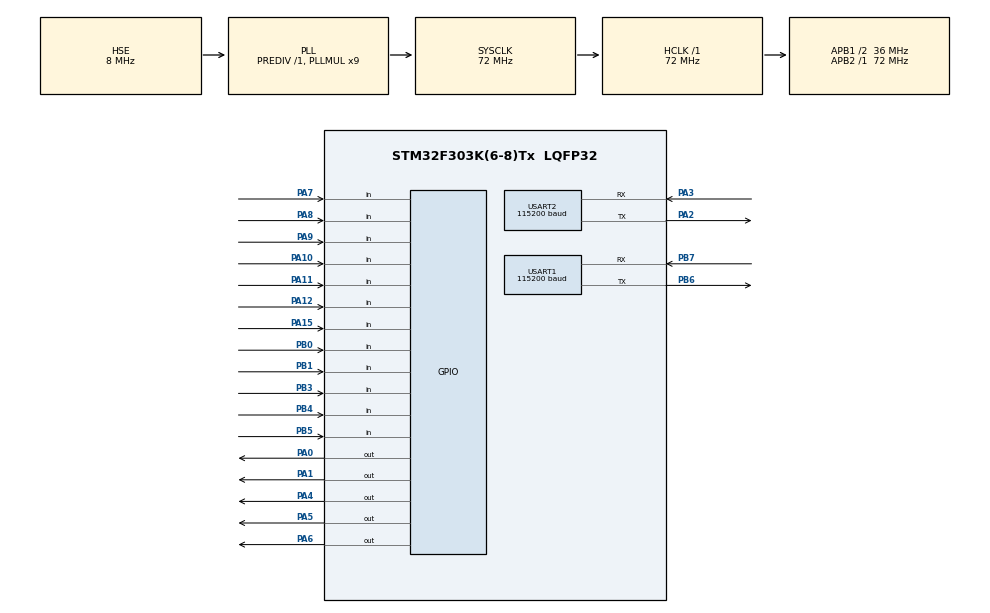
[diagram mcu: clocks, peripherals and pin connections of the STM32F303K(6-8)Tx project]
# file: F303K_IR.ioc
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IWDG.Prescaler=IWDG_PRESCALER_16
Mcu.Family=STM32F3
Mcu.Name=STM32F303K(6-8)Tx
Mcu.Package=LQFP32
NVIC.PriorityGroup=NVIC_PRIORITYGROUP_4
PA0.Signal=GPIO_Output
PA1.Signal=GPIO_Output
PA10.Signal=GPIO_Input
PA11.Signal=GPIO_Input
PA12.Signal=GPIO_Input
PA13.Mode=Serial_Wire
PA13.Signal=SYS_JTMS-SWDIO
PA14.Mode=Serial_Wire
PA14.Signal=SYS_JTCK-SWCLK
PA15.Signal=GPIO_Input
PA2.Mode=Asynchronous
PA2.Signal=USART2_TX
PA3.Mode=Asynchronous
PA3.Signal=USART2_RX
PA4.Signal=GPIO_Output
PA5.Signal=GPIO_Output
PA6.Signal=GPIO_Output
PA7.GPIO_Mode=GPIO_MODE_INPUT
PA7.GPIO_PuPd=GPIO_NOPULL
PA7.Signal=GPIO_Input
PA8.Signal=GPIO_Input
PA9.Signal=GPIO_Input
PB0.Signal=GPIO_Input
PB1.Signal=GPIO_Input
PB3.Signal=GPIO_Input
PB4.Signal=GPIO_Input
PB5.Signal=GPIO_Input
PB6.Mode=Asynchronous
PB6.Signal=USART1_TX
PB7.Mode=Asynchronous
PB7.Signal=USART1_RX
PF0\ /\ OSC_IN.Mode=HSE-External-Oscillator
PF0\ /\ OSC_IN.Signal=RCC_OSC_IN
PF1\ /\ OSC_OUT.Mode=HSE-External-Oscillator
PF1\ /\ OSC_OUT.Signal=RCC_OSC_OUT
ProjectManager.HeapSize=0x200
ProjectManager.StackSize=0x400
ProjectManager.TargetToolchain=TrueSTUDIO
RCC.AHBFreq_Value=72000000
RCC.APB1CLKDivider=RCC_HCLK_DIV2
RCC.APB1Freq_Value=36000000
RCC.APB1TimFreq_Value=72000000
RCC.APB2Freq_Value=72000000
RCC.APB2TimFreq_Value=72000000
RCC.CortexFreq_Value=72000000
RCC.HCLKFreq_Value=72000000
RCC.HSE_VALUE=8000000
RCC.HSI_VALUE=8000000
RCC.PLLMUL=RCC_PLL_MUL9
RCC.PLLSourceVirtual=RCC_PLLSOURCE_HSE
RCC.SYSCLKFreq_VALUE=72000000
RCC.SYSCLKSourceVirtual=RCC_SYSCLKSOURCE_PLLCLK
USART1.BaudRate=115200
USART1.VirtualMode-Asynchronous=VM_ASYNC
USART1.WordLength=WORDLENGTH_8B
USART2.BaudRate=115200
USART2.VirtualMode-Asynchronous=VM_ASYNC
USART2.WordLength=WORDLENGTH_8B
VP_IWDG_VS_IWDG.Mode=IWDG_Activate
board=F303K_IR

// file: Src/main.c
/**
  ******************************************************************************
  * File Name          : main.c
  * Description        : Main program body
  ******************************************************************************
  ** This notice applies to any and all portions of this file
  * that are not between comment pairs USER CODE BEGIN and
  * USER CODE END. Other portions of this file, whether
  * inserted by the user or by software development tools
  * are owned by their respective copyright owners.
  *
  * COPYRIGHT(c) 2018 STMicroelectronics
  *
  * Redistribution and use in source and binary forms, with or without modification,
  * are permitted provided that the following conditions are met:
  *   1. Redistributions of source code must retain the above copyright notice,
  *      this list of conditions and the following disclaimer.
  *   2. Redistributions in binary form must reproduce the above copyright notice,
  *      this list of conditions and the following disclaimer in the documentation
  *      and/or other materials provided with the distribution.
  *   3. Neither the name of STMicroelectronics nor the names of its contributors
  *      may be used to endorse or promote products derived from this software
  *      without specific prior written permission.
  *
  * THIS SOFTWARE IS PROVIDED BY THE COPYRIGHT HOLDERS AND CONTRIBUTORS "AS IS"
  * AND ANY EXPRESS OR IMPLIED WARRANTIES, INCLUDING, BUT NOT LIMITED TO, THE
  * IMPLIED WARRANTIES OF MERCHANTABILITY AND FITNESS FOR A PARTICULAR PURPOSE ARE
  * DISCLAIMED. IN NO EVENT SHALL THE COPYRIGHT HOLDER OR CONTRIBUTORS BE LIABLE
  * FOR ANY DIRECT, INDIRECT, INCIDENTAL, SPECIAL, EXEMPLARY, OR CONSEQUENTIAL
  * DAMAGES (INCLUDING, BUT NOT LIMITED TO, PROCUREMENT OF SUBSTITUTE GOODS OR
  * SERVICES; LOSS OF USE, DATA, OR PROFITS; OR BUSINESS INTERRUPTION) HOWEVER
  * CAUSED AND ON ANY THEORY OF LIABILITY, WHETHER IN CONTRACT, STRICT LIABILITY,
  * OR TORT (INCLUDING NEGLIGENCE OR OTHERWISE) ARISING IN ANY WAY OUT OF THE USE
  * OF THIS SOFTWARE, EVEN IF ADVISED OF THE POSSIBILITY OF SUCH DAMAGE.
  *
  ******************************************************************************
  */

#include "main.h"
#include "stm32f3xx_hal.h"
#include "iwdg.h"
#include "usart.h"
#include "gpio.h"

/* USER CODE BEGIN Includes */
#include "myatan2.h"
#include "stdlib.h"
#include "xprintf.h"
#include "microsectimer.h"
/* USER CODE END Includes */

/* USER CODE BEGIN PV */
/* Private variables ---------------------------------------------------------*/

/* USER CODE END PV */

void SystemClock_Config(void);

/* USER CODE BEGIN PFP */
/* Private function prototypes -----------------------------------------------*/

/* USER CODE END PFP */

/* USER CODE BEGIN 0 */
int IR[12];
int IRkyori;;
float Vx,Vy,digree;
uint8_t count;
uint8_t Txdata[13];
uint32_t sortdata0[3]={0}, sortdata1[3]={0}, sortdata2[3]={0}, sortdata3[3]={0}, sortdata4[3]={0},
		 sortdata5[3]={0}, sortdata6[3]={0},sortdata7[3]={0}, sortdata8[3]={0}, sortdata9[3]={0},
		 sortdata10[3]={0}, sortdata11[3]={0};
uint32_t tempdata0[3]={0},tempdata1[3]={0},tempdata2[3]={0},tempdata3[3]={0},tempdata4[3]={0},
		 tempdata5[3]={0},tempdata6[3]={0},tempdata7[3]={0},tempdata8[3]={0},tempdata9[3]={0},
		 tempdata10[3]={0},tempdata11[3];
int32_t IRdata[12];
int int_sort( const void *p, const void *q ) {
    return *(uint32_t*)p - *(uint32_t*)q;
}
#define data_cnt  sizeof(sortdata0)/sizeof(uint32_t)
/* USER CODE END 0 */

int main(void)
{

  /* MCU Configuration----------------------------------------------------------*/

  /* Reset of all peripherals, Initializes the Flash interface and the Systick. */
  HAL_Init();

  /* Configure the system clock */
  SystemClock_Config();

  /* Initialize all configured peripherals */
  MX_GPIO_Init();
  MX_USART2_UART_Init();
  MX_USART1_UART_Init();
  MX_IWDG_Init();

  /* USER CODE BEGIN 2 */

  init_xpritf(&huart2);
  xdev_out(uart_putc);
  //HAL_I2C_Slave_Transmit_IT(&hi2c1,(uint8_t*)Txdata,3);
  count=0;
  /* USER CODE END 2 */

  /* Infinite loop */
  while (1)
  {

  /* USER CODE BEGIN 3 */
	  for(uint8_t j=0;j<12;j++){
		  IR[j]=0;
	  }
	  HAL_GPIO_WritePin(GPIOA,GPIO_PIN_0,1);
	  delayUs(5);
	  for(int k=0;k<1020;k++){
		  IR[0]=IR[0]+HAL_GPIO_ReadPin(GPIOA,GPIO_PIN_7);
		  IR[1]=IR[1]+HAL_GPIO_ReadPin(GPIOB,GPIO_PIN_0);
		  IR[2]=IR[2]+HAL_GPIO_ReadPin(GPIOB,GPIO_PIN_1);
		  IR[3]=IR[3]+HAL_GPIO_ReadPin(GPIOA,GPIO_PIN_8);
		  IR[4]=IR[4]+HAL_GPIO_ReadPin(GPIOA,GPIO_PIN_9);
		  IR[5]=IR[5]+HAL_GPIO_ReadPin(GPIOA,GPIO_PIN_10);
		  IR[6]=IR[6]+HAL_GPIO_ReadPin(GPIOA,GPIO_PIN_11);
		  IR[7]=IR[7]+HAL_GPIO_ReadPin(GPIOA,GPIO_PIN_12);
		  IR[8]=IR[8]+HAL_GPIO_ReadPin(GPIOB,GPIO_PIN_3);
		  IR[9]=IR[9]+HAL_GPIO_ReadPin(GPIOB,GPIO_PIN_4);
		  IR[10]=IR[10]+HAL_GPIO_ReadPin(GPIOB,GPIO_PIN_5);
		  IR[11]=IR[11]+HAL_GPIO_ReadPin(GPIOA,GPIO_PIN_15);
	  }
	  HAL_GPIO_WritePin(GPIOA,GPIO_PIN_0,0);

  	  tempdata0[count]=IR[0];
  	  tempdata1[count]=IR[1];
  	  tempdata2[count]=IR[2];
  	  tempdata3[count]=IR[3];
  	  tempdata4[count]=IR[4];
  	  tempdata5[count]=IR[5];
  	  tempdata6[count]=IR[6];
  	  tempdata7[count]=IR[7];
  	  tempdata8[count]=IR[8];
  	  tempdata9[count]=IR[9];
  	  tempdata10[count]=IR[10];
  	  tempdata11[count]=IR[11];

  	  for(uint8_t i=0;i<3;i++){
  	  sortdata0[i]=tempdata0[i];
  	  sortdata1[i]=tempdata1[i];
  	  sortdata2[i]=tempdata2[i];
  	  sortdata3[i]=tempdata3[i];
  	  sortdata4[i]=tempdata4[i];
  	  sortdata5[i]=tempdata5[i];
  	  sortdata6[i]=tempdata6[i];
  	  sortdata7[i]=tempdata7[i];
  	  sortdata8[i]=tempdata8[i];
  	  sortdata9[i]=tempdata9[i];
  	  sortdata10[i]=tempdata10[i];
  	  sortdata11[i]=tempdata11[i];
  	  }

  	  qsort(sortdata0,data_cnt,4,int_sort);
  	  qsort(sortdata1,data_cnt,4,int_sort);
  	  qsort(sortdata2,data_cnt,4,int_sort);
  	  qsort(sortdata3,data_cnt,4,int_sort);
  	  qsort(sortdata4,data_cnt,4,int_sort);
  	  qsort(sortdata5,data_cnt,4,int_sort);
  	  qsort(sortdata6,data_cnt,4,int_sort);
  	  qsort(sortdata7,data_cnt,4,int_sort);
  	  qsort(sortdata8,data_cnt,4,int_sort);
  	  qsort(sortdata9,data_cnt,4,int_sort);
  	  qsort(sortdata10,data_cnt,4,int_sort);
  	  qsort(sortdata11,data_cnt,4,int_sort);

  	  IRdata[0]=sortdata0[1];
  	  IRdata[1]=sortdata1[1];
  	  IRdata[2]=sortdata2[1];
  	  IRdata[3]=sortdata3[1];
  	  IRdata[4]=sortdata4[1];
  	  IRdata[5]=sortdata5[1];
  	  IRdata[6]=sortdata6[1];
  	  IRdata[7]=sortdata7[1];
  	  IRdata[8]=sortdata8[1];
  	  IRdata[9]=sortdata9[1];
  	  IRdata[10]=sortdata10[1];
  	  IRdata[11]=sortdata11[1];

	  IRdata[0]=IRdata[0]-30;
	  if(IRdata[0]<10){
		IRdata[0]=0;
	  }
	  IRdata[1]=IRdata[1]-180;
	  if(IRdata[1]<10){
		 IRdata[1]=0;
	  }
	  IRdata[2]=IRdata[2]-100;
	  if(IRdata[2]<10){
		 IRdata[2]=0;
	  }
	  IRdata[3]=IRdata[3]-80;
	  if(IRdata[3]<10){
		 IRdata[3]=0;
	  }
	  IRdata[4]=IRdata[4]-80;
	  if(IRdata[4]<10){
		 IRdata[4]=0;
	  }
	  IRdata[5]=IRdata[5]-80;
	  if(IRdata[5]<10){
		 IRdata[5]=0;
	  }
	  IRdata[6]=IRdata[6]-100;
	  if(IRdata[6]<10){
		 IRdata[6]=0;
	  }
	  IRdata[7]=IRdata[7]-40;
	  if(IRdata[7]<10){
		 IRdata[7]=0;
	  }
	  IRdata[8]=IRdata[8]-130;
	  if(IRdata[8]<10){
		 IRdata[8]=0;
	  }
	  IRdata[9]=IRdata[9]-70;
	  if(IRdata[9]<10){
		 IRdata[9]=0;
	  }
	  IRdata[10]=IRdata[10]-60;
	  if(IRdata[10]<10){
		 IRdata[10]=0;
	  }
	  IRdata[11]=IRdata[11]-120;
	  if(IRdata[11]<10){
		 IRdata[11]=0;
	  }

	  digree=0;
	  IRkyori=IRdata[0];
	    for(int m=0;m<12;m++){
	    if(IRkyori<IRdata[m]){IRkyori=IRdata[m];}
	    }
	  if(IRkyori==0){
	    digree=0;
	  }
	  if(IRdata[0]>400){
		  Vy=(IRdata[1])*0.5+(IRdata[2])*0.866025404+(IRdata[10])*(-0.866025404)+(IRdata[11])*(-0.5);
		  Vx=(IRdata[0])+(IRdata[1])*0.866025404+(IRdata[2])*0.5+(IRdata[10])*0.5+(IRdata[11])*(-0.866025404);
		  digree = myAtan2(Vy,Vx)/3.1415926*180;
		  IRkyori=IRdata[0];
	  }
	    if(IRkyori==IRdata[0]){
	      Vy=(IRdata[1])*0.5+(IRdata[2])*0.866025404+(IRdata[10])*(-0.866025404)+(IRdata[11])*(-0.5);
	      Vx=(IRdata[0])+(IRdata[1])*0.866025404+(IRdata[2])*0.5+(IRdata[10])*0.5+(IRdata[11])*(-0.866025404);
	       digree = myAtan2(Vy,Vx)/3.1415926*180;
	      }
	     else if(IRkyori==IRdata[1]){
	         Vy=IRdata[1]*0.5+(IRdata[2])*0.866025404+(IRdata[3])+(IRdata[11])*(-0.5);
	         Vx=IRdata[0]+(IRdata[1])*0.866025404+(IRdata[2])*0.5+(IRdata[11])*(-0.866025404);
	          digree = myAtan2(Vy,Vx)/3.1415926*180;
	        }
	     else if(IRkyori==IRdata[11]){
	      Vy=(IRdata[1]+50)*0.5+(IRdata[9])*(-1)+(IRdata[10])*(-0.866025404)+(IRdata[11])*(-0.5);
	      Vx=(IRdata[0]+50)+(IRdata[1]+50)*0.866025404+(IRdata[10])*0.5+(IRdata[11])*(-0.866025404);
	       digree = myAtan2(Vy,Vx)/3.1415926*180;
	      }
	     else if(IRkyori==IRdata[2]){
	       Vy=IRdata[1]*0.5+IRdata[2]*0.866025404+IRdata[3]+IRdata[4]*0.866025404;
	        Vx=IRdata[0]+IR[1]*0.866025404+IRdata[2]*0.5+IRdata[4]*(-0.5);
	         digree = myAtan2(Vy,Vx)/3.1415926*180;
	      }
	     else if(IRkyori==IRdata[10]){
	       Vy=IRdata[8]*(-0.866025404)+IRdata[9]*(-1)+IRdata[10]*(-0.866025404)+IRdata[11]*(-0.5);
	       Vx=(IRdata[0]+50)+IRdata[8]*(-0.5)+IRdata[10]*0.5+IRdata[11]*(-0.866025404);
	      digree = myAtan2(Vy,Vx)/3.1415926*180;
	      }
	      else if(IRkyori==IRdata[3]){
	       Vy=IRdata[1]*0.5+IRdata[2]*0.866025404+IRdata[3]+IRdata[4]*0.866025404+IRdata[5]*0.5;
	       Vx=IRdata[1]*0.866025404+IRdata[2]*0.5+IRdata[4]*(-0.5)+IRdata[5]*(-0.866025404);
	       digree = myAtan2(Vy,Vx)/3.1415926*180;
	       }
	      else if(IRkyori==IRdata[9]){
	       Vy=IRdata[7]*(-0.5)+IRdata[8]*(-0.866025404)+IRdata[9]*(-1)+IRdata[10]*(-0.866025404)+IRdata[11]*(-0.5);
	       Vx=IRdata[7]*(-0.866025404)+IRdata[8]*(-0.5)+IRdata[10]*0.5+IRdata[11]*(-0.866025404);
	       digree = myAtan2(Vy,Vx)/3.1415926*180;
	       }
	      else if(IRkyori==IRdata[4]){
	         Vy=IRdata[2]*0.866025404+(IRdata[3])+(IRdata[4])*0.866025404+(IRdata[5])*0.5;
	         Vx=IRdata[2]*0.5+(IRdata[4])*(-0.5)+(IRdata[5])*(-0.866025404)+(IRdata[6])*(-1);
	         digree = myAtan2(Vy,Vx)/3.1415926*180;
	       }
	      else if(IRkyori==IRdata[8]){
	       Vy=IRdata[7]*(-0.5)+(IRdata[8])*(-0.866025404)+(IRdata[9])*(-1)+(IRdata[10])*(-0.866025404);
	       Vx=IRdata[6]*(-1)+(IRdata[7])*(-0.866025404)+(IRdata[8])*(-0.5)+(IRdata[10])*0.5;
	       digree = myAtan2(Vy,Vx)/3.1415926*180;
	       }
	      else if(IRkyori==IRdata[5]){
	        Vy=IRdata[3]+(IRdata[4])*0.866025404+(IRdata[5])*0.5+(IRdata[7])*(-0.5);
	        Vx=IRdata[4]*(-0.5)+IRdata[5]*(-0.866025404)+(IRdata[6])*(-1)+(IRdata[7])*(-0.866025404);
	        digree = myAtan2(Vy,Vx)/3.1415926*180;
	       }
	       else if(IRkyori==IRdata[7]){
	        Vy=IRdata[5]*0.5+(IRdata[7])*(-0.5)+(IRdata[8])*(-0.866025404)+(IRdata[9])*(-1);
	        Vx=IRdata[5]*(-0.866025404)+(IRdata[6])*(-1)+(IRdata[7])*(-0.866025404)+(IRdata[8])*(-0.5);
	       digree = myAtan2(Vy,Vx)/3.1415926*180;
	       }
	       else if(IRkyori==IRdata[6]){
	        Vy=IRdata[4]*0.866025404+(IRdata[5])*0.5+(IRdata[7])*(-0.5)+(IRdata[8])*(-0.866025404);
	        Vx=IRdata[4]*(-0.5)+(IRdata[5])*(-0.866025404)+(IRdata[6])*(-1)+(IRdata[7])*(-0.866025404)+(IRdata[8])*(-0.5);
	        digree = myAtan2(Vy,Vx)/3.1415926*180;
	        }
	       if(digree<0){
	    digree=digree+360;
	    }

		 xprintf(" rad=%d",(int)digree);
		 xprintf(" R=%d",(int)IRkyori);
	 	 /*for(uint8_t i=0;i<12;i++){
	 	  xprintf(" %d=%d",i,IRdata[i]);
	 	  }*/
	 	  xprintf("\r\n");
		  Txdata[0]=254;
		  Txdata[1]=(uint8_t)((((uint16_t)digree) & 0b1111111100000000)>>8);
		  Txdata[2]=(uint8_t)(((uint16_t)digree) & 0b0000000011111111);
		  Txdata[3]=(uint8_t)((((uint16_t)IRkyori) & 0b1111111100000000)>>8);
		  Txdata[4]=(uint8_t)(((uint16_t)IRkyori) & 0b0000000011111111);
		  HAL_UART_Transmit(&huart1,(uint8_t*)Txdata,5,0xff);

  	  if(count>=2){
  		  count=0;
  	  }
  	  else{
  		  count++;
  	  }

		HAL_IWDG_Refresh(&hiwdg);
  }
  /* USER CODE END 3 */

}

/** System Clock Configuration
*/
void SystemClock_Config(void)
{

  RCC_OscInitTypeDef RCC_OscInitStruct;
  RCC_ClkInitTypeDef RCC_ClkInitStruct;
  RCC_PeriphCLKInitTypeDef PeriphClkInit;

    /**Initializes the CPU, AHB and APB busses clocks
    */
  RCC_OscInitStruct.OscillatorType = RCC_OSCILLATORTYPE_LSI|RCC_OSCILLATORTYPE_HSE;
  RCC_OscInitStruct.HSEState = RCC_HSE_ON;
  RCC_OscInitStruct.HSEPredivValue = RCC_HSE_PREDIV_DIV1;
  RCC_OscInitStruct.HSIState = RCC_HSI_ON;
  RCC_OscInitStruct.LSIState = RCC_LSI_ON;
  RCC_OscInitStruct.PLL.PLLState = RCC_PLL_ON;
  RCC_OscInitStruct.PLL.PLLSource = RCC_PLLSOURCE_HSE;
  RCC_OscInitStruct.PLL.PLLMUL = RCC_PLL_MUL9;
  if (HAL_RCC_OscConfig(&RCC_OscInitStruct) != HAL_OK)
  {
    _Error_Handler(__FILE__, __LINE__);
  }

    /**Initializes the CPU, AHB and APB busses clocks
    */
  RCC_ClkInitStruct.ClockType = RCC_CLOCKTYPE_HCLK|RCC_CLOCKTYPE_SYSCLK
                              |RCC_CLOCKTYPE_PCLK1|RCC_CLOCKTYPE_PCLK2;
  RCC_ClkInitStruct.SYSCLKSource = RCC_SYSCLKSOURCE_PLLCLK;
  RCC_ClkInitStruct.AHBCLKDivider = RCC_SYSCLK_DIV1;
  RCC_ClkInitStruct.APB1CLKDivider = RCC_HCLK_DIV2;
  RCC_ClkInitStruct.APB2CLKDivider = RCC_HCLK_DIV1;

  if (HAL_RCC_ClockConfig(&RCC_ClkInitStruct, FLASH_LATENCY_2) != HAL_OK)
  {
    _Error_Handler(__FILE__, __LINE__);
  }

  PeriphClkInit.PeriphClockSelection = RCC_PERIPHCLK_USART1;
  PeriphClkInit.Usart1ClockSelection = RCC_USART1CLKSOURCE_PCLK1;
  if (HAL_RCCEx_PeriphCLKConfig(&PeriphClkInit) != HAL_OK)
  {
    _Error_Handler(__FILE__, __LINE__);
  }

    /**Configure the Systick interrupt time
    */
  HAL_SYSTICK_Config(HAL_RCC_GetHCLKFreq()/1000);

    /**Configure the Systick
    */
  HAL_SYSTICK_CLKSourceConfig(SYSTICK_CLKSOURCE_HCLK);

  /* SysTick_IRQn interrupt configuration */
  HAL_NVIC_SetPriority(SysTick_IRQn, 0, 0);
}

void _Error_Handler(char * file, int line)
{
  while(1)
  {
  }
}

/************************ (C) COPYRIGHT STMicroelectronics *****END OF FILE****/
